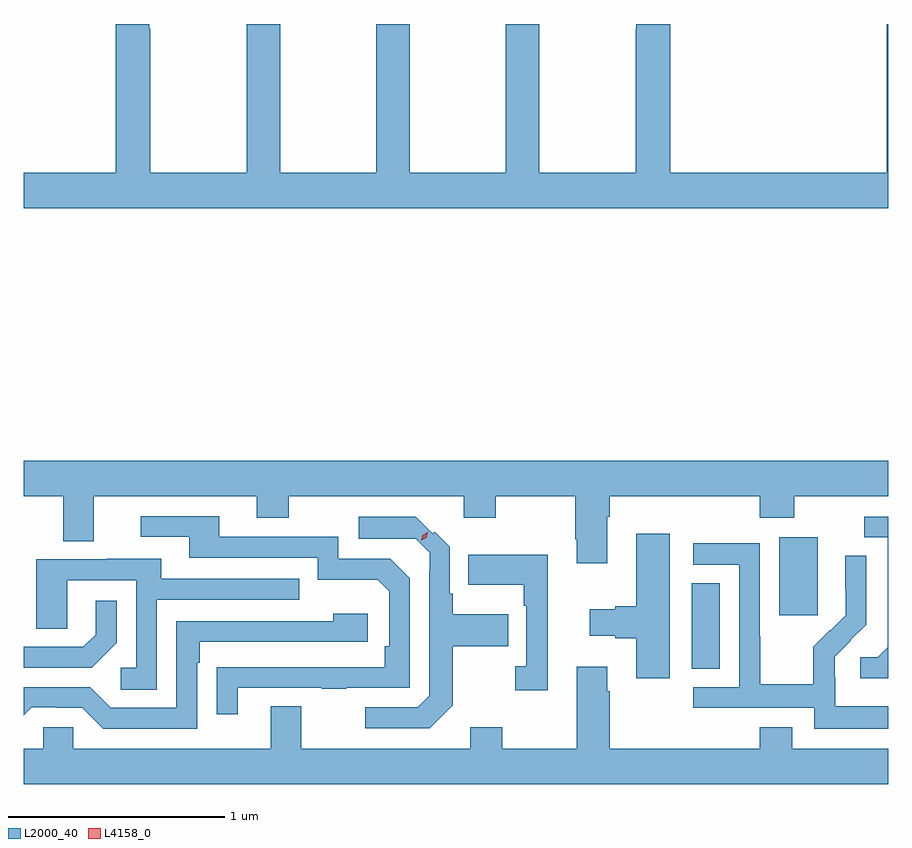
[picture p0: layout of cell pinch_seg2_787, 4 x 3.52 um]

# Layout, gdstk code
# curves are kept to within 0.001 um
import gdstk
lib = gdstk.Library(unit=1e-6, precision=1e-09)
def R(c, l, rs):  # rectangles x0, y0, x1, y1
    for r in rs: c.add(gdstk.rectangle(r[:2], r[2:], *l))
def P(c, l, *ps):  # polygons
    for p in ps: c.add(gdstk.Polygon(p, *l))
L2000_40 = (2000, 40)
L4158_0 = (4158, 0)

pinch_seg2_787 = lib.new_cell('pinch_seg2_787')
R(pinch_seg2_787, L2000_40, [(679.07,592.225,679.201,592.622), (679.475,592.473,679.654,592.834)])
P(pinch_seg2_787, L2000_40, [(679.98,595.209),(679.973,595.209),(679.973,594.52),(678.971,594.52),(678.971,595.209),(678.815,595.209),(678.815,595.187),(678.811,595.187),(678.811,594.52),(678.366,594.52),(678.366,595.209),(678.211,595.209),(678.211,594.52),(677.766,594.52),(677.766,595.209),(677.611,595.209),(677.611,594.52),(677.166,594.52),(677.166,595.209),(677.011,595.209),(677.011,594.52),(676.566,594.52),(676.566,595.187),(676.561,595.187),(676.561,595.209),(676.406,595.209),(676.406,594.52),(675.98,594.52),(675.98,594.356),(679.98,594.356)],
  [(678.679,592.928),(678.692,592.928),(678.692,593.024),(679.385,593.024),(679.385,592.925),(679.545,592.925),(679.545,593.024),(679.98,593.024),(679.98,593.188),(675.98,593.188),(675.98,593.024),(676.163,593.024),(676.163,592.816),(676.303,592.816),(676.303,593.024),(677.057,593.024),(677.057,592.925),(677.205,592.925),(677.205,593.024),(678.017,593.024),(678.017,592.925),(678.165,592.925),(678.165,593.024),(678.532,593.024),(678.532,592.825),(678.539,592.825),(678.539,592.713),(678.679,592.713)],
  [(676.969,592.137),(677.359,592.137),(677.359,592.132),(677.471,592.132),(677.471,592.137),(677.766,592.137),(677.766,592.644),(677.676,592.734),(677.436,592.734),(677.436,592.836),(676.885,592.836),(676.885,592.932),(676.521,592.932),(676.521,592.836),(676.745,592.836),(676.745,592.74),(677.34,592.74),(677.34,592.637),(677.617,592.637),(677.67,592.584),(677.67,592.33),(677.65,592.33),(677.65,592.233),(676.873,592.232),(676.873,592.014),(676.969,592.014)],
  [(679.98,592.929),(679.869,592.929),(679.869,592.833),(679.979,592.833),(679.979,592.325),(679.932,592.278),(679.851,592.278),(679.851,592.181),(679.98,592.181)],
  [(677.965,592.057),(677.965,592.33),(678.221,592.33),(678.221,592.477),(677.965,592.477),(677.965,592.573),(677.952,592.573),(677.952,592.789),(677.882,592.859),(677.873,592.85),(677.794,592.929),(677.529,592.929),(677.529,592.827),(677.793,592.827),(677.859,592.761),(677.859,592.679),(677.856,592.679),(677.856,592.101),(677.802,592.047),(677.559,592.047),(677.559,591.951),(677.859,591.951)],
  [(678.97,592.849),(678.815,592.849),(678.815,592.514),(678.716,592.514),(678.716,592.501),(678.6,592.501),(678.6,592.379),(678.716,592.379),(678.716,592.367),(678.815,592.367),(678.815,592.182),(678.97,592.182)],
  [(679.98,592.051),(679.734,592.051),(679.734,592.185),(679.732,592.185),(679.732,592.282),(679.878,592.43),(679.878,592.748),(679.782,592.748),(679.782,592.594),(679.784,592.594),(679.784,592.472),(679.713,592.401),(679.71,592.404),(679.633,592.327),(679.633,592.153),(679.389,592.153),(679.389,592.376),(679.386,592.376),(679.386,592.806),(679.077,592.806),(679.077,592.707),(679.29,592.707),(679.29,592.14),(679.077,592.14),(679.077,592.044),(679.638,592.044),(679.638,591.947),(679.98,591.947)],
  [(678.404,592.753),(678.037,592.753),(678.037,592.613),(678.294,592.613),(678.294,592.517),(678.306,592.517),(678.306,592.238),(678.255,592.238),(678.255,592.125),(678.404,592.125)],
  [(676.596,592.545),(677.255,592.545),(677.255,592.641),(676.615,592.641),(676.615,592.735),(676.361,592.735),(676.361,592.731),(676.037,592.731),(676.037,592.411),(676.182,592.411),(676.182,592.635),(676.5,592.635),(676.5,592.23),(676.428,592.23),(676.428,592.129),(676.596,592.129)],
  [(676.41,592.346),(676.41,592.54),(676.313,592.54),(676.313,592.383),(676.256,592.326),(675.98,592.326),(675.98,592.23),(676.294,592.23)],
  [(676.782,592.253),(676.795,592.253),(676.795,592.35),(677.572,592.35),(677.572,592.48),(677.411,592.48),(677.411,592.446),(676.686,592.446),(676.686,592.044),(676.383,592.044),(676.287,592.14),(675.98,592.14),(675.98,592.01),(676.017,592.047),(676.133,592.047),(676.133,592.044),(676.251,592.044),(676.347,591.948),(676.782,591.948)],
  [(679.98,591.856),(679.537,591.856),(679.537,591.955),(679.385,591.955),(679.385,591.856),(678.692,591.856),(678.692,592.121),(678.679,592.121),(678.679,592.234),(678.539,592.234),(678.539,591.856),(678.195,591.856),(678.195,591.955),(678.047,591.955),(678.047,591.856),(677.263,591.856),(677.263,592.051),(677.123,592.051),(677.123,591.856),(676.209,591.856),(676.209,591.954),(676.071,591.954),(676.071,591.856),(675.98,591.856),(675.98,591.692),(679.98,591.692)])
P(pinch_seg2_787, L4158_0, [(677.819,592.819),(677.819,592.819),(677.826,592.844),(677.848,592.856),(677.849,592.856),(677.849,592.856),(677.842,592.831),(677.819,592.819)])

lib.write_gds('pinch_seg2_787.gds')
